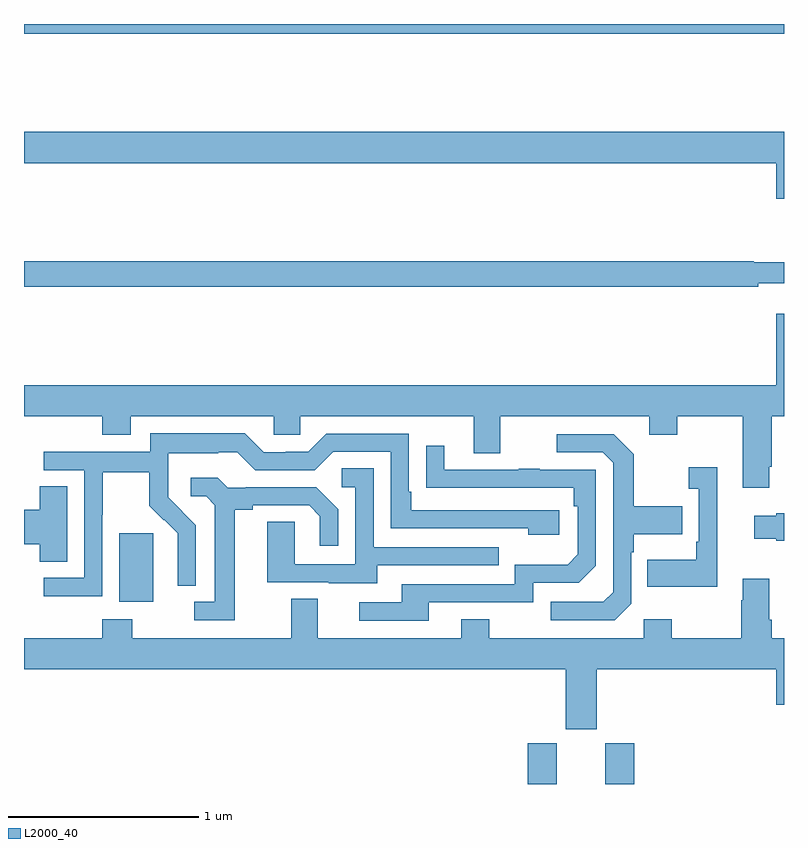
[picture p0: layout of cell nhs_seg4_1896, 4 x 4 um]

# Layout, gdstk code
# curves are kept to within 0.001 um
import gdstk
lib = gdstk.Library(unit=1e-6, precision=1e-09)
def R(c, l, rs):  # rectangles x0, y0, x1, y1
    for r in rs: c.add(gdstk.rectangle(r[:2], r[2:], *l))
def P(c, l, *ps):  # polygons
    for p in ps: c.add(gdstk.Polygon(p, *l))
L2000_40 = (2000, 40)

nhs_seg4_1896 = lib.new_cell('nhs_seg4_1896')
R(nhs_seg4_1896, L2000_40, [(211.652,778.9,211.804,779.115), (212.06,778.9,212.213,779.115), (209.501,779.858,209.68,780.219), (209,782.848,213,782.9)])
P(nhs_seg4_1896, L2000_40, [(213,782.332),(209,782.332),(209,782.168),(212.96,782.168),(212.96,781.98),(213,781.98)],
  [(212.864,781.535),(213,781.535),(213,781.645),(212.842,781.645),(212.842,781.652),(209,781.652),(209,781.516),(212.864,781.516)],
  [(212.923,780.571),(212.936,780.571),(212.936,780.836),(213,780.836),(213,781.375),(212.96,781.375),(212.96,781),(209,781),(209,780.836),(209.411,780.836),(209.411,780.737),(209.563,780.737),(209.563,780.836),(210.315,780.836),(210.315,780.738),(210.453,780.738),(210.453,780.836),(211.367,780.836),(211.367,780.642),(211.507,780.642),(211.507,780.836),(212.291,780.836),(212.291,780.737),(212.439,780.737),(212.439,780.836),(212.783,780.836),(212.783,780.459),(212.923,780.459)],
  [(209.412,780.316),(209.415,780.316),(209.415,780.54),(209.659,780.54),(209.659,780.365),(209.736,780.288),(209.739,780.291),(209.81,780.221),(209.81,780.098),(209.808,780.098),(209.808,779.944),(209.904,779.944),(209.904,780.262),(209.758,780.41),(209.758,780.507),(209.76,780.507),(209.76,780.641),(210.023,780.641),(210.023,780.645),(210.123,780.645),(210.216,780.552),(210.531,780.552),(210.627,780.648),(210.93,780.648),(210.93,780.246),(211.655,780.246),(211.655,780.212),(211.816,780.212),(211.816,780.342),(211.039,780.342),(211.039,780.439),(211.026,780.439),(211.026,780.744),(210.591,780.744),(210.495,780.648),(210.377,780.648),(210.377,780.645),(210.261,780.645),(210.161,780.745),(209.664,780.745),(209.664,780.648),(209.103,780.648),(209.103,780.552),(209.316,780.552),(209.316,779.985),(209.103,779.985),(209.103,779.887),(209.412,779.887)],
  [(212.196,779.85),(212.196,780.119),(212.209,780.119),(212.209,780.215),(212.465,780.215),(212.465,780.363),(212.209,780.363),(212.209,780.635),(212.103,780.741),(211.803,780.741),(211.803,780.645),(212.046,780.645),(212.1,780.591),(212.1,779.91),(212.049,779.859),(211.773,779.859),(211.773,779.763),(212.109,779.763)],
  [(211.129,779.856),(211.68,779.856),(211.68,779.958),(211.92,779.958),(212.01,780.048),(212.01,780.555),(211.715,780.555),(211.715,780.56),(211.603,780.56),(211.603,780.555),(211.213,780.555),(211.213,780.679),(211.117,780.679),(211.117,780.46),(211.894,780.459),(211.894,780.362),(211.914,780.362),(211.914,780.108),(211.861,780.055),(211.584,780.055),(211.584,779.952),(210.989,779.952),(210.989,779.856),(210.765,779.856),(210.765,779.76),(211.129,779.76)],
  [(212.648,780.568),(212.499,780.568),(212.499,780.455),(212.55,780.455),(212.55,780.175),(212.538,780.175),(212.538,780.079),(212.281,780.079),(212.281,779.939),(212.648,779.939)],
  [(210.859,780.051),(211.499,780.051),(211.499,780.147),(210.84,780.147),(210.84,780.563),(210.672,780.563),(210.672,780.462),(210.744,780.462),(210.744,780.057),(210.426,780.057),(210.426,780.281),(210.281,780.281),(210.281,779.961),(210.605,779.961),(210.605,779.957),(210.859,779.957)],
  [(210.109,780.344),(210.205,780.344),(210.205,780.366),(210.5,780.366),(210.557,780.309),(210.557,780.153),(210.654,780.153),(210.654,780.346),(210.538,780.462),(210.166,780.462),(210.166,780.459),(210.072,780.459),(210.02,780.511),(209.877,780.511),(209.877,780.414),(209.958,780.414),(210.005,780.367),(210.005,779.859),(209.895,779.859),(209.895,779.763),(210.109,779.763)],
  [(209.227,780.467),(209.084,780.467),(209.084,780.344),(209,780.344),(209,780.161),(209.084,780.161),(209.084,780.07),(209.227,780.07)],
  [(213,780.326),(212.96,780.326),(212.96,780.313),(212.844,780.313),(212.844,780.191),(212.96,780.191),(212.96,780.179),(213,780.179)],
  [(212.014,779.504),(212.96,779.504),(212.96,779.316),(213,779.316),(213,779.668),(212.936,779.668),(212.936,779.764),(212.923,779.764),(212.923,779.98),(212.783,779.98),(212.783,779.867),(212.776,779.867),(212.776,779.668),(212.409,779.668),(212.409,779.767),(212.262,779.767),(212.262,779.668),(211.449,779.668),(211.449,779.767),(211.301,779.767),(211.301,779.668),(210.547,779.668),(210.547,779.876),(210.407,779.876),(210.407,779.668),(209.571,779.668),(209.571,779.767),(209.411,779.767),(209.411,779.668),(209,779.668),(209,779.504),(211.85,779.504),(211.85,779.187),(212.014,779.187)])

lib.write_gds('nhs_seg4_1896.gds')
